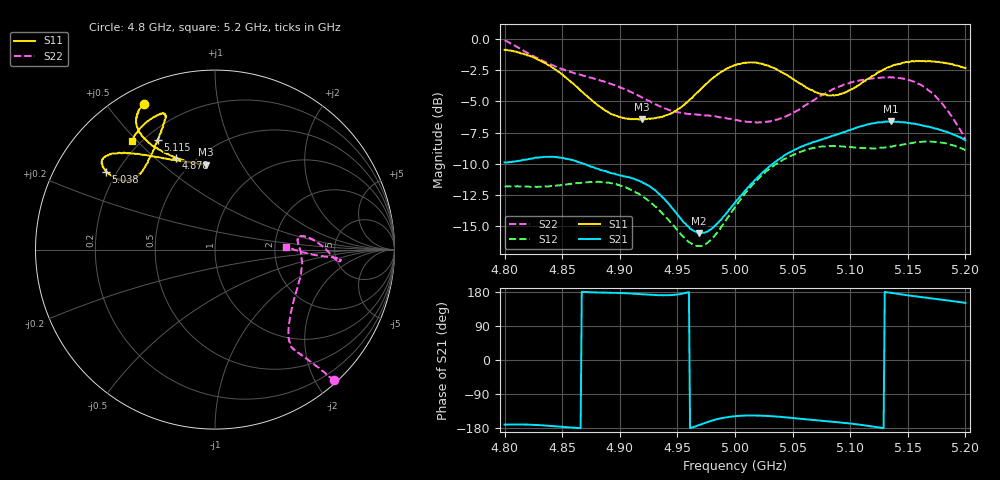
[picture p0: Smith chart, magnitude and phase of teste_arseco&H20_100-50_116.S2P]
! Network Analyzer HP8722D
! Hewlett-Packard
! Data name: Linha & Wilkinson
! Saver's name: Rodrigo Anjos
! Comments: Teste da utilização de aquisição
! continua pelo VNA HP8722D
! Time and date: 6/5/2025 13:32
!  Frequency  S11  S21  S12  S22
# HZ  S  MA R 50
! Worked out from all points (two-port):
!   401 points, 4.8 GHz to 5.2 GHz, reference 50 ohm
!   highest |S21| = -6.59 dB at 5.135 GHz (marker M1); lowest = -15.5 dB at 4.969 GHz (marker M2)
!   |S21| within 3 dB of the highest: 4.822 GHz to 4.853 GHz (30.23 MHz wide, 0.625 % of centre); 5.039 GHz to end of sweep
!   lowest |S11| = -6.5 dB at 4.919 GHz (marker M3), VSWR 2.81, Z = 29.1 + j35.6 ohm
!   |S11| at or under -10 dB: nowhere
!   |S22| runs from -8.0 to -0.1 dB; largest |S21 - S12| = 0.83
!   S11 on the Smith chart (normalised r, x): 4.8 GHz: 0.07, +0.63; 4.878 GHz: 0.40, +0.59; 5.038 GHz: 0.16, +0.31; 5.115 GHz: 0.25, +0.58; 5.2 GHz: 0.17, +0.48
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4.8e9  0.9037 115.8  0.3204 -170.5  0.2565 -86.1  0.9849 -47.5
4.832e9  0.8132 122.4  0.3361 -172.4  0.2563 -77.6  0.8211 -49.5
4.849e9  0.725 122.3  0.3347 -176.4  0.2601 -71.9  0.7586 -50.5
4.867e9  0.6152 117.9  0.3179 179.9  0.2657 -67.4  0.7161 -51.6
4.878e9  0.5551 113.1  0.3051 178.4  0.2674 -66.1  0.6922 -51.9
4.901e9  0.486 100.8  0.2839 176.7  0.2583 -66.8  0.6382 -50.1
4.919e9  0.4757 96.2  0.2682 173.8  0.2352 -68.7  0.5831 -45.0
4.934e9  0.4839 99.2  0.2397 171.1  0.2075 -69.5  0.5381 -37.6
4.948e9  0.5142 107.8  0.2036 172.2  0.176 -66.6  0.5115 -28.3
4.969e9  0.6203 123.4  0.167 -171.5  0.1485 -48.0  0.4971 -15.2
4.981e9  0.6981 130.0  0.1757 -159.2  0.1606 -34.1  0.4904 -8.9
5e9  0.7859 137.2  0.2212 -148.4  0.2125 -21.5  0.4734 -0.3
5.019e9  0.8027 141.8  0.2771 -146.8  0.272 -18.4  0.4622 5.9
5.038e9  0.7459 144.3  0.3293 -149.5  0.321 -18.5  0.4776 8.8
5.067e9  0.6229 142.0  0.3854 -158.0  0.3656 -20.6  0.5634 4.7
5.088e9  0.5955 133.0  0.4141 -163.9  0.3716 -23.8  0.6376 -1.7
5.115e9  0.6907 117.5  0.4546 -173.6  0.3648 -26.7  0.6903 -5.4
5.134e9  0.77 111.3  0.4656 177.9  0.3691 -28.7  0.7013 -4.8
5.135e9  0.7757 111.2  0.4681 177.4  0.3707 -28.8  0.7014 -4.7
5.164e9  0.8143 113.3  0.4487 165.1  0.3879 -36.0  0.6425 -3.7
5.181e9  0.8023 119.4  0.428 158.5  0.3831 -41.3  0.5429 -2.9
5.2e9  0.7646 127.4  0.3925 150.8  0.3587 -46.3  0.397 2.2
